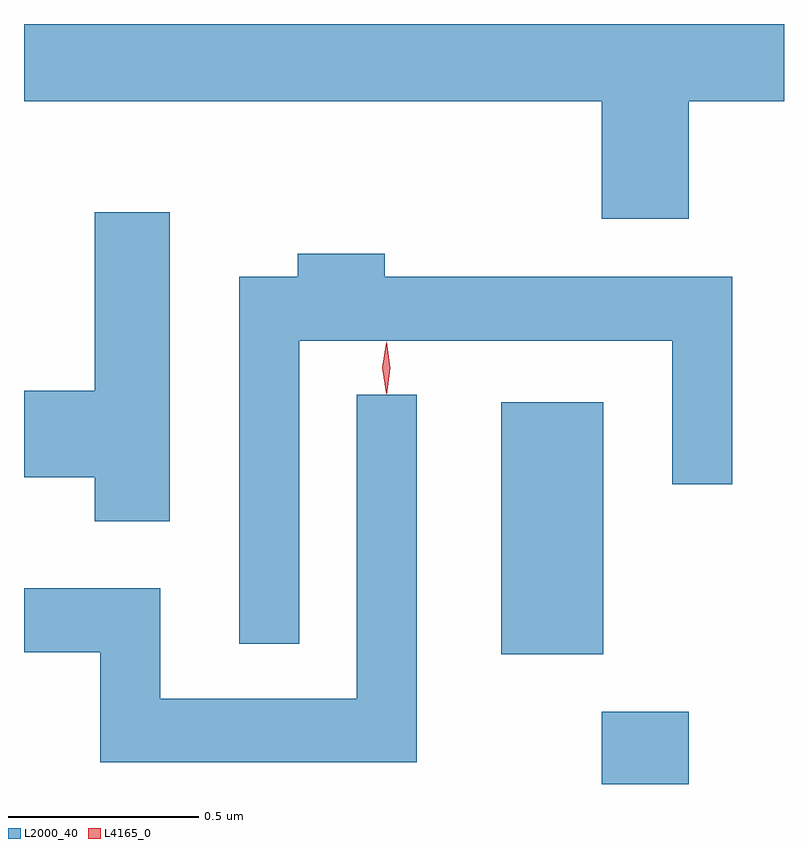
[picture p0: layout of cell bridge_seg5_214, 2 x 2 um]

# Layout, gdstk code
import gdstk
lib = gdstk.Library(unit=1e-6, precision=1e-09)
def R(c, l, rs):  # rectangles x0, y0, x1, y1
    for r in rs: c.add(gdstk.rectangle(r[:2], r[2:], *l))
def P(c, l, *ps):  # polygons
    for p in ps: c.add(gdstk.Polygon(p, *l))
L2000_40 = (2000, 40)
L4165_0 = (4165, 0)

bridge_seg5_214 = lib.new_cell('bridge_seg5_214')
R(bridge_seg5_214, L2000_40, [(1278.901,1421.699,1279.129,1421.889), (1278.636,1422.041,1278.904,1422.704)])
P(bridge_seg5_214, L2000_40, [(1279.129,1423.496),(1279.38,1423.496),(1279.38,1423.699),(1277.38,1423.699),(1277.38,1423.496),(1278.901,1423.496),(1278.901,1423.186),(1279.129,1423.186)],
  [(1277.764,1423.204),(1277.566,1423.204),(1277.566,1422.734),(1277.38,1422.734),(1277.38,1422.506),(1277.566,1422.506),(1277.566,1422.391),(1277.764,1422.391)],
  [(1278.104,1422.866),(1279.086,1422.866),(1279.086,1422.488),(1279.244,1422.488),(1279.244,1423.034),(1278.329,1423.034),(1278.329,1423.094),(1278.101,1423.094),(1278.101,1423.034),(1277.946,1423.034),(1277.946,1422.068),(1278.104,1422.068)],
  [(1278.414,1422.723),(1278.256,1422.723),(1278.256,1421.924),(1277.739,1421.924),(1277.739,1422.214),(1277.38,1422.214),(1277.38,1422.046),(1277.581,1422.046),(1277.581,1421.756),(1278.414,1421.756)])
P(bridge_seg5_214, L4165_0, [(1278.333,1422.727),(1278.323,1422.794),(1278.333,1422.86),(1278.333,1422.86),(1278.334,1422.86),(1278.343,1422.794),(1278.334,1422.727),(1278.334,1422.727)],
  [(1278.334,1422.724),(1278.334,1422.724),(1278.324,1422.793),(1278.334,1422.863),(1278.334,1422.863),(1278.335,1422.863),(1278.344,1422.793),(1278.335,1422.724)])

lib.write_gds('bridge_seg5_214.gds')
